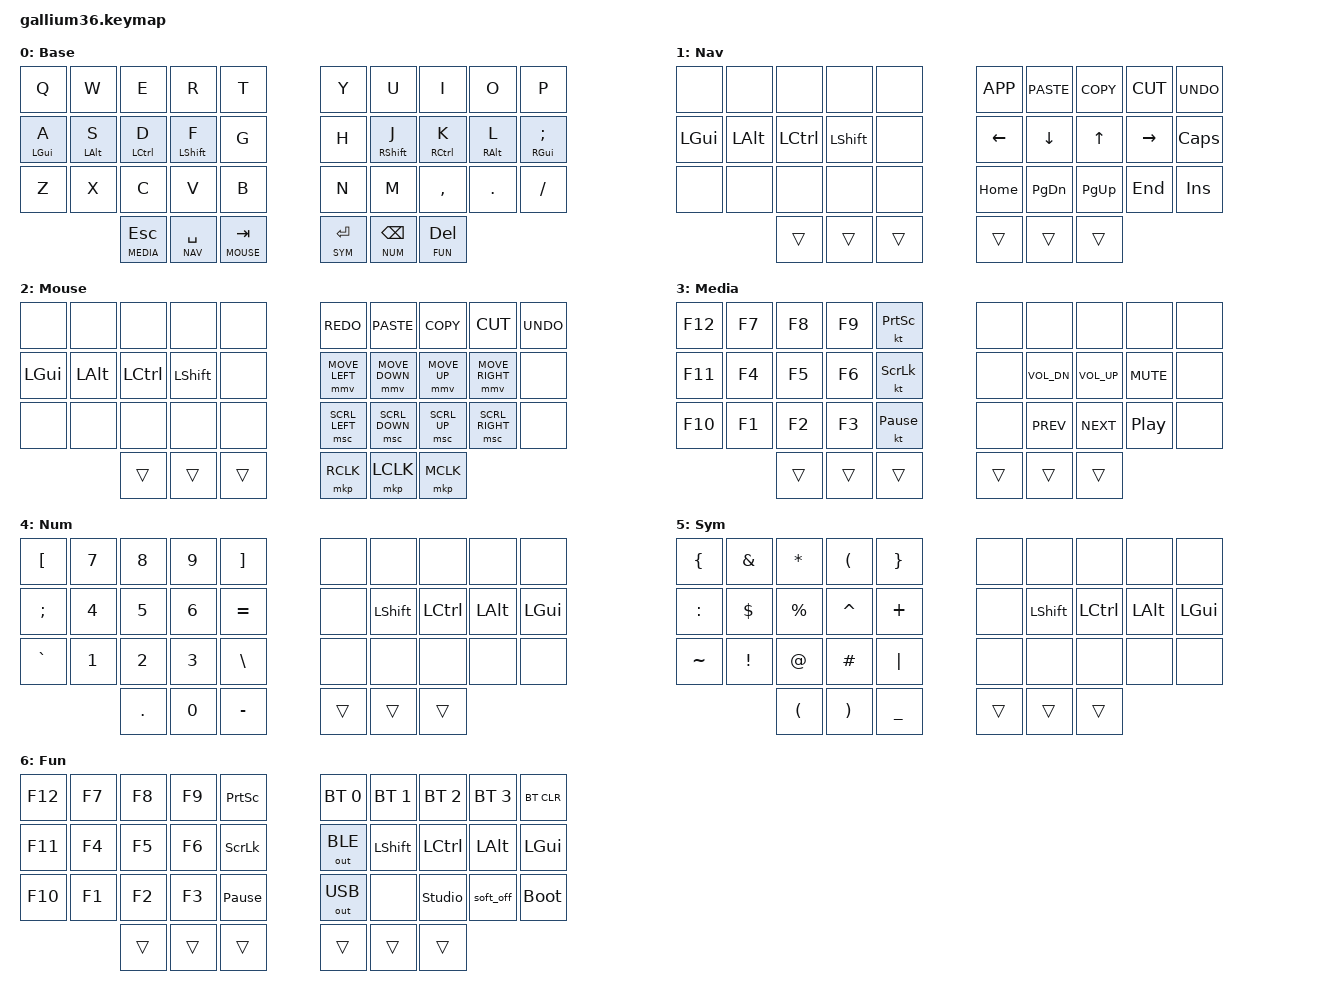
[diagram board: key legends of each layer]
#include <behaviors.dtsi>
#include <dt-bindings/zmk/bt.h>
#include <dt-bindings/zmk/keys.h>
#include <dt-bindings/zmk/outputs.h>
#include <dt-bindings/zmk/pointing.h>

#define ZMK_POINTING_DEFAULT_SCRL_VAL 80

/* Miryoku 레이아웃 정의 */

#define BASE    0
#define NAV     1
#define MOUSE   2
#define MEDIA   3
#define NUM     4
#define SYM     5
#define FUN     6

&caps_word { continue-list = <UNDERSCORE MINUS>; };

&soft_off { hold-time-ms = <5000>; };

/ {
    behaviors {
        /* 홈 로우 모디파이어 (HRM) 설정 */
        /* 짧게 치면 글자, 길게 누르면 Shift/Ctrl/Alt/Gui */

        hm: homerow_mods {
            compatible = "zmk,behavior-hold-tap";
            #binding-cells = <2>;
            tapping-term-ms = <200>;
            quick-tap-ms = <150>;
            require-prior-idle-ms = <125>; /* 오타 방지용: 이전 입력 후 잠시 쉴 때만 모드 발동 */
            flavor = "balanced";
            bindings = <&kp>, <&kp>;
        };

        /* 레이어 탭 설정 (엄지 키용) */

        lt_thumb: layer_tap_thumb {
            compatible = "zmk,behavior-hold-tap";
            #binding-cells = <2>;
            tapping-term-ms = <200>;
            quick-tap-ms = <150>;
            flavor = "balanced";
            bindings = <&mo>, <&kp>;
        };

        mmv: mouse_move {
            compatible = "zmk,behavior-input-two-axis";
            #binding-cells = <1>;
            x-input-code = <INPUT_REL_X>;
            y-input-code = <INPUT_REL_Y>;
            time-to-max-speed-ms = <300>; /* 가속 시간 */
            acceleration-exponent = <1>;
        };

        msc: mouse_scroll {
            compatible = "zmk,behavior-input-two-axis";
            #binding-cells = <1>;
            x-input-code = <INPUT_REL_HWHEEL>;
            y-input-code = <INPUT_REL_WHEEL>;
            time-to-max-speed-ms = <300>;
            acceleration-exponent = <0>;
        };
    };

    keymap {
        compatible = "zmk,keymap";

        /* * BASE Layer (QWERTY)
         * Home Row Mods: GUI(A/;)  Alt(S/L)  Ctrl(D/K)  Shift(F/J)
         */

        default_layer {
            display-name = "Base";
            bindings = <
&kp Q                &kp W                &kp E                &kp R                &kp T               &kp Y              &kp U        &kp I        &kp O       &kp P
&hm LGUI A           &hm LALT S           &hm LCTRL D          &hm LSHFT F          &kp G               &kp H              &hm RSHFT J  &hm RCTRL K  &hm RALT L  &hm RGUI SEMI
&kp Z                &kp X                &kp C                &kp V                &kp B               &kp N              &kp M        &kp COMMA    &kp DOT     &kp SLASH
&lt_thumb MEDIA ESC  &lt_thumb NAV SPACE  &lt_thumb MOUSE TAB  &lt_thumb SYM ENTER  &lt_thumb NUM BSPC  &lt_thumb FUN DEL
            >;
        };

        /* NAV Layer: 방향키, Home/End, PgUp/Dn (왼쪽 엄지 SPACE 유지 시 진입) */

        nav_layer {
            display-name = "Nav";
            bindings = <
&none     &none     &none      &none      &none   &kp K_APP  &kp K_PASTE  &kp K_COPY  &kp K_CUT  &kp K_UNDO
&kp LGUI  &kp LALT  &kp LCTRL  &kp LSHFT  &none   &kp LEFT   &kp DOWN     &kp UP      &kp RIGHT  &kp CAPS
&none     &none     &none      &none      &none   &kp HOME   &kp PG_DN    &kp PG_UP   &kp END    &kp INS
&trans    &trans    &trans     &trans     &trans  &trans
            >;
        };

        /* MOUSE Layer: (마우스 기능이 활성화되어 있어야 작동) */

        mouse_layer {
            display-name = "Mouse";
            bindings = <
&none     &none     &none      &none      &none      &kp K_REDO      &kp K_PASTE     &kp K_COPY    &kp K_CUT        &kp K_UNDO
&kp LGUI  &kp LALT  &kp LCTRL  &kp LSHFT  &none      &mmv MOVE_LEFT  &mmv MOVE_DOWN  &mmv MOVE_UP  &mmv MOVE_RIGHT  &none
&none     &none     &none      &none      &none      &msc SCRL_LEFT  &msc SCRL_DOWN  &msc SCRL_UP  &msc SCRL_RIGHT  &none
&trans    &trans    &trans     &mkp RCLK  &mkp LCLK  &mkp MCLK
            >;
        };

        /* MEDIA Layer: 볼륨, 재생 제어 (왼쪽 엄지 ESC 유지 시 진입) */

        media_layer {
            display-name = "Media";
            bindings = <
&kp F12  &kp F7  &kp F8  &kp F9  &kt PRINTSCREEN  &none   &none         &none         &none       &none
&kp F11  &kp F4  &kp F5  &kp F6  &kt SCROLLLOCK   &none   &kp C_VOL_DN  &kp C_VOL_UP  &kp C_MUTE  &none
&kp F10  &kp F1  &kp F2  &kp F3  &kt PAUSE_BREAK  &none   &kp C_PREV    &kp C_NEXT    &kp C_PP    &none
&trans   &trans  &trans  &trans  &trans           &trans
            >;
        };

        /* NUM Layer: 숫자 패드 (오른쪽 엄지 BSPC 유지 시 진입) */

        num_layer {
            display-name = "Num";
            bindings = <
&kp LBKT   &kp N7  &kp N8     &kp N9  &kp RBKT   &none   &none      &none      &none     &none
&kp SEMI   &kp N4  &kp N5     &kp N6  &kp EQUAL  &none   &kp LSHFT  &kp LCTRL  &kp LALT  &kp LGUI
&kp GRAVE  &kp N1  &kp N2     &kp N3  &kp BSLH   &none   &none      &none      &none     &none
&kp DOT    &kp N0  &kp MINUS  &trans  &trans     &trans
            >;
        };

        /* SYM Layer: 특수 기호 (오른쪽 엄지 ENTER 유지 시 진입) */

        sym_layer {
            display-name = "Sym";
            bindings = <
&kp LBRC   &kp AMPS  &kp STAR   &kp LPAR   &kp RBRC  &none   &none      &none      &none     &none
&kp COLON  &kp DLLR  &kp PRCNT  &kp CARET  &kp PLUS  &none   &kp LSHFT  &kp LCTRL  &kp LALT  &kp LGUI
&kp TILDE  &kp EXCL  &kp AT     &kp HASH   &kp PIPE  &none   &none      &none      &none     &none
&kp LPAR   &kp RPAR  &kp UNDER  &trans     &trans    &trans
            >;
        };

        /* FUN Layer: 펑션 키 (F1~F12), 블루투스 제어 (오른쪽 엄지 DEL 유지 시 진입) */

        fun_layer {
            display-name = "Fun";
            bindings = <
&kp F12  &kp F7  &kp F8  &kp F9  &kp PSCRN        &bt BT_SEL 0  &bt BT_SEL 1  &bt BT_SEL 2    &bt BT_SEL 3  &bt BT_CLR
&kp F11  &kp F4  &kp F5  &kp F6  &kp SLCK         &out OUT_BLE  &kp LSHFT     &kp LCTRL       &kp LALT      &kp LGUI
&kp F10  &kp F1  &kp F2  &kp F3  &kp PAUSE_BREAK  &out OUT_USB  &none         &studio_unlock  &soft_off     &bootloader
&trans   &trans  &trans  &trans  &trans           &trans
            >;
        };
    };
};
